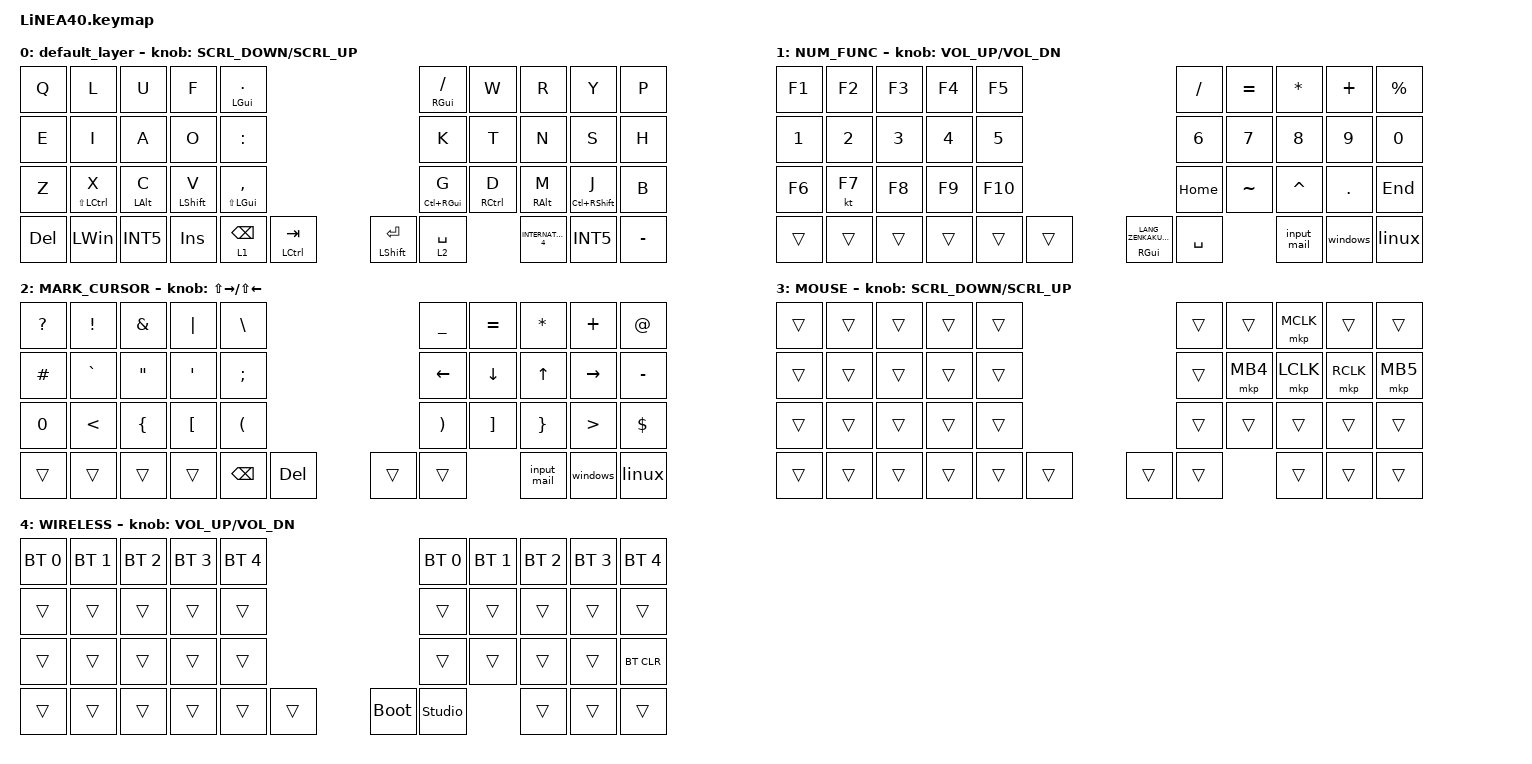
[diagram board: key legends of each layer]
#define ZMK_POINTING_DEFAULT_SCRL_VAL 150

#include <dt-bindings/zmk/input_transform.h>
#include <input/processors.dtsi>
#include <zephyr/dt-bindings/input/input-event-codes.h>
#include <behaviors.dtsi>
#include <dt-bindings/zmk/bt.h>
#include <dt-bindings/zmk/keys.h>
#include <dt-bindings/zmk/pointing.h>

#define NUM_FUNC      1
#define MARK_CURSOR   2
#define MOUSE         3
#define WIRELESS      4

//mouse cursol

&mmv {
    delay-ms = <20>;
    trigger-period-ms = <5>;
    time-to-max-speed-ms = <100>;
    acceleration-exponent = <2>;
};

//mouse scroll

&msc {
    delay-ms = <3>;
    trigger-period-ms = <3>;
    time-to-max-speed-ms = <100>;
    acceleration-exponent = <0>;
};

/ {
    input_processors {
        zip_wheel_scaler: zip_wheel_scaler {
            compatible = "zmk,input-processor-scaler";
            #input-processor-cells = <2>;
            type = <INPUT_EV_REL>;
            codes = <INPUT_REL_WHEEL>;
            track-remainders;
        };
    };
};

&msc_input_listener {
    speed_up {
        layers = <NUM_FUNC>;
        input-processors = <&zip_wheel_scaler 3 1>; //スクロールを3倍速にする
    };
};

&trackball_listener {
    scroller {
        layers = <MARK_CURSOR>;
        input-processors = <
 &zip_xy_transform INPUT_TRANSFORM_Y_INVERT
              &zip_xy_to_scroll_mapper
        >;
    };
};

/ {
    combos {
        compatible = "zmk,combos";

        Esc_Int5 {
            bindings = <&esc_int5>;
            key-positions = <16 17>;
        };

        BLUETOOTH {
            bindings = <&mo 4>;
            key-positions = <38 39>;
        };

        mouse_middle {
            bindings = <&mkp LCLK>;
            key-positions = <17 18>;
            layers = <3>;
        };

        muhenkan {
            bindings = <&kp INT5>;
            key-positions = <12 13>;
        };

        kana {
            bindings = <&kp INTERNATIONAL_4>;
            key-positions = <2 3>;
        };

        Screenshot {
            bindings = <&kp LS(LG(S))>;
            key-positions = <27 28>;
        };

        wp {
            bindings = <&input_wq>;
            key-positions = <26 27>;
        };

        esc {
            bindings = <&kp ESC>;
            key-positions = <6 7>;
        };
    };

    behaviors {
        re_kp: sensor_rotate_kp {
            compatible = "zmk,behavior-sensor-rotate-var";
            #sensor-binding-cells = <2>;
            bindings = < &kp &kp >;
        };

        mouse_scrl: mouse_wheel_scrl {
            compatible = "zmk,behavior-sensor-rotate-var";
            #sensor-binding-cells = <2>;
            bindings = < &msc &msc >;
            tap-ms = <20>;
        };
    };

    macros {
        input_wq: wq {
            compatible = "zmk,behavior-macro";
            #binding-cells = <0>;
            bindings = <&kp INT5 &kp SQT &kp W &kp Q>;
            label = "WQ";
        };

        windows: windows {
            compatible = "zmk,behavior-macro";
            #binding-cells = <0>;
            bindings = <&kp INT5 &kp N1 &kp N5 &kp N2 &kp N2 &kp N5 &kp N3 &kp N0 &kp LS(N) &kp K &kp M &kp R &kp LS(NUMBER_4) &kp N1 &kp N4 &kp N7>;
            label = "WINDOWS";
        };

        linux: linux {
            compatible = "zmk,behavior-macro";
            #binding-cells = <0>;
            bindings = <&kp INT5 &kp N6 &kp B &kp LS(MINUS) &kp LS(Y) &kp LS(G) &kp N2 &kp P &kp LS(RBKT)>;
            label = "LINUX";
        };

        input_mail: mail {
            compatible = "zmk,behavior-macro";
            #binding-cells = <0>;
            bindings = <&kp INT5 &kp H &kp A &kp Y &kp A &kp T &kp O &kp MINUS &kp N &kp DOT &kp N &kp A &kp K &kp A &kp M &kp U &kp R &kp A &kp LBKT &kp A &kp D &kp V &kp A &kp N &kp T &kp E &kp S &kp T &kp DOT &kp C &kp O &kp M>;
            label = "MAIL";
        };

        esc_int5: esc_int5 {
            compatible = "zmk,behavior-macro";
            #binding-cells = <0>;
            bindings = <&kp ESC &kp INT5>;
            label = "ESC_INT5";
        };

        //        view_battery: view_battery {
        //            compatible = "zmk,behavior-macro";
        //            #binding-cells = <0>;
        //            bindings = <&kp INT5 &batt_type>;
        //            label = "VIEW_BATTERY";
        //        };
    };

    keymap {
        compatible = "zmk,keymap";

        default_layer {
            bindings = <
&kp Q       &kp L            &kp U           &kp F             &mt LEFT_GUI PERIOD                                            &mt RIGHT_GUI SLASH  &kp W                &kp R                &kp Y                  &kp P
&kp E       &kp I            &kp A           &kp O             &kp COLON                                                      &kp K                &kp T                &kp N                &kp S                  &kp H
&kp Z       &mt LS(LCTRL) X  &mt LEFT_ALT C  &mt LEFT_SHIFT V  &mt LS(LEFT_GUI) COMMA                                         &mt LC(RIGHT_GUI) G  &mt RIGHT_CONTROL D  &mt RIGHT_ALT M      &mt LC(RIGHT_SHIFT) J  &kp B
&kp DELETE  &kp LEFT_WIN     &kp INT5        &kp INS           &lt 1 BACKSPACE         &mt LCTRL TAB    &mt LEFT_SHIFT ENTER  &lt 2 SPACE                               &kp INTERNATIONAL_4  &kp INT5               &kp MINUS
            >;

            sensor-bindings = <&mouse_scrl SCRL_DOWN SCRL_UP>;
        };

        NUM_FUNC {
            bindings = <
&kp F1        &kp F2        &kp F3        &kp F4        &kp F5                                                     &kp SLASH     &kp EQUAL     &kp ASTERISK  &kp PLUS      &kp PERCENT
&kp NUMBER_1  &kp NUMBER_2  &kp NUMBER_3  &kp NUMBER_4  &kp NUMBER_5                                               &kp NUMBER_6  &kp NUMBER_7  &kp NUMBER_8  &kp NUMBER_9  &kp NUMBER_0
&kp F6        &kt F7        &kp F8        &kp F9        &kp F10                                                    &kp HOME      &kp TILDE     &kp CARET     &kp PERIOD    &kp END
&trans        &trans        &trans        &trans        &trans        &trans    &mt RIGHT_GUI LANG_ZENKAKUHANKAKU  &kp SPACE                   &input_mail   &windows      &linux
            >;

            sensor-bindings = <&inc_dec_kp C_VOL_UP C_VOL_DN>;
        };

        MARK_CURSOR {
            bindings = <
&kp QUESTION  &kp EXCLAMATION  &kp AMPERSAND      &kp PIPE          &kp BACKSLASH                               &kp UNDERSCORE         &kp EQUAL          &kp ASTERISK     &kp PLUS          &kp AT_SIGN
&kp HASH      &kp GRAVE        &kp DOUBLE_QUOTES  &kp SQT           &kp SEMICOLON                               &kp LEFT_ARROW         &kp DOWN_ARROW     &kp UP_ARROW     &kp RIGHT_ARROW   &kp MINUS
&kp NUMBER_0  &kp LESS_THAN    &kp LEFT_BRACE     &kp LEFT_BRACKET  &kp LEFT_PARENTHESIS                        &kp RIGHT_PARENTHESIS  &kp RIGHT_BRACKET  &kp RIGHT_BRACE  &kp GREATER_THAN  &kp DOLLAR
&trans        &trans           &trans             &trans            &kp BACKSPACE         &kp DELETE    &trans  &trans                                    &input_mail      &windows          &linux
            >;

            sensor-bindings = <&inc_dec_kp LS(RIGHT_ARROW) LS(LEFT_ARROW)>;
        };

        MOUSE {
            bindings = <
&trans  &trans  &trans  &trans  &trans                    &trans  &trans    &mkp MCLK  &trans     &trans
&trans  &trans  &trans  &trans  &trans                    &trans  &mkp MB4  &mkp LCLK  &mkp RCLK  &mkp MB5
&trans  &trans  &trans  &trans  &trans                    &trans  &trans    &trans     &trans     &trans
&trans  &trans  &trans  &trans  &trans  &trans    &trans  &trans            &trans     &trans     &trans
            >;

            sensor-bindings = <&mouse_scrl SCRL_DOWN SCRL_UP>;
        };

        WIRELESS {
            bindings = <
&bt BT_SEL 0  &bt BT_SEL 1  &bt BT_SEL 2  &bt BT_SEL 3  &bt BT_SEL 4                         &bt BT_SEL 0    &bt BT_SEL 1  &bt BT_SEL 2  &bt BT_SEL 3  &bt BT_SEL 4
&trans        &trans        &trans        &trans        &trans                               &trans          &trans        &trans        &trans        &trans
&trans        &trans        &trans        &trans        &trans                               &trans          &trans        &trans        &trans        &bt BT_CLR
&trans        &trans        &trans        &trans        &trans        &trans    &bootloader  &studio_unlock                &trans        &trans        &trans
            >;

            sensor-bindings = <&inc_dec_kp C_VOL_UP C_VOL_DN>;
        };
    };
};
